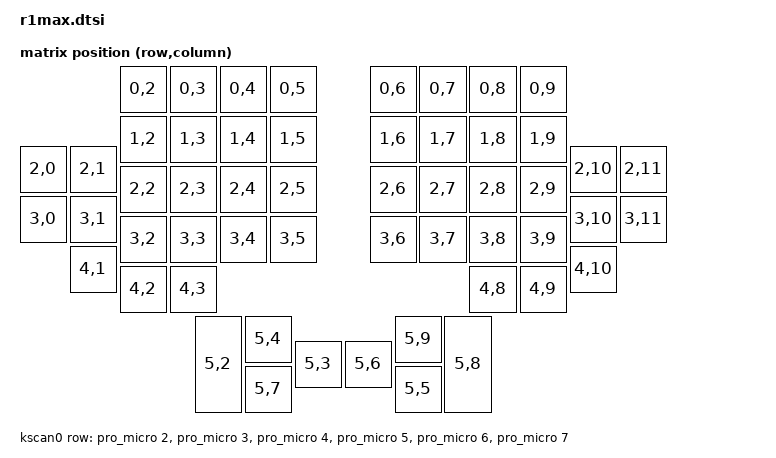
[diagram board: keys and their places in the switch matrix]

#include <dt-bindings/zmk/matrix_transform.h> // Put this with the other includes at the top of your dtsi
#include <physical_layouts.dtsi>

/ {
    default_transform: keymap_transform0 {
        compatible = "zmk,matrix-transform";
        columns = <12>;
        rows = <6>;
        map = <
                            RC(0,2) RC(0,3) RC(0,4) RC(0,5)     RC(0,6) RC(0,7) RC(0,8) RC(0,9)
                            RC(1,2) RC(1,3) RC(1,4) RC(1,5)     RC(1,6) RC(1,7) RC(1,8) RC(1,9) 
            RC(2,0) RC(2,1) RC(2,2) RC(2,3) RC(2,4) RC(2,5)     RC(2,6) RC(2,7) RC(2,8) RC(2,9) RC(2,10) RC(2,11)
            RC(3,0) RC(3,1) RC(3,2) RC(3,3) RC(3,4) RC(3,5)     RC(3,6) RC(3,7) RC(3,8) RC(3,9) RC(3,10) RC(3,11)
                    RC(4,1) RC(4,2) RC(4,3)                                     RC(4,8) RC(4,9) RC(4,10) 
                                    RC(5,2) RC(5,4) RC(5,5)     RC(5,6) RC(5,7) RC(5,9)
                                            RC(5,3)                     RC(5,8)
        >;
    };
};
/ {
    kscan0: kscan0 {
        compatible = "zmk,kscan-gpio-matrix";
        diode-direction = "col2row";
        wakeup-source;

        row-gpios
            = <&pro_micro 2 (GPIO_ACTIVE_HIGH | GPIO_PULL_DOWN)>
            , <&pro_micro 3 (GPIO_ACTIVE_HIGH | GPIO_PULL_DOWN)>
            , <&pro_micro 4 (GPIO_ACTIVE_HIGH | GPIO_PULL_DOWN)>
            , <&pro_micro 5 (GPIO_ACTIVE_HIGH | GPIO_PULL_DOWN)>
            , <&pro_micro 6 (GPIO_ACTIVE_HIGH | GPIO_PULL_DOWN)>
            , <&pro_micro 7 (GPIO_ACTIVE_HIGH | GPIO_PULL_DOWN)>
            ;

    };
};

/ {
    physical_layout0: physical_layout_0 {
        compatible = "zmk,physical-layout";
        display-name = "Default";

        kscan = <&kscan0>;
        transform = <&default_transform>;

        keys  //                     w   h    x    y     rot    rx    ry
            = <&key_physical_attrs 100 100  200    0       0     0     0>
            , <&key_physical_attrs 100 100  300    0       0     0     0>
            , <&key_physical_attrs 100 100  400    0       0     0     0>
            , <&key_physical_attrs 100 100  500    0       0     0     0>
            , <&key_physical_attrs 100 100  700    0       0     0     0>
            , <&key_physical_attrs 100 100  800    0       0     0     0>
            , <&key_physical_attrs 100 100  900    0       0     0     0>
            , <&key_physical_attrs 100 100 1000    0       0     0     0>
            , <&key_physical_attrs 100 100  200  100       0     0     0>
            , <&key_physical_attrs 100 100  300  100       0     0     0>
            , <&key_physical_attrs 100 100  400  100       0     0     0>
            , <&key_physical_attrs 100 100  500  100       0     0     0>
            , <&key_physical_attrs 100 100  700  100       0     0     0>
            , <&key_physical_attrs 100 100  800  100       0     0     0>
            , <&key_physical_attrs 100 100  900  100       0     0     0>
            , <&key_physical_attrs 100 100 1000  100       0     0     0>
            , <&key_physical_attrs 100 100    0  160       0     0     0>
            , <&key_physical_attrs 100 100  100  160       0     0     0>
            , <&key_physical_attrs 100 100  200  200       0     0     0>
            , <&key_physical_attrs 100 100  300  200       0     0     0>
            , <&key_physical_attrs 100 100  400  200       0     0     0>
            , <&key_physical_attrs 100 100  500  200       0     0     0>
            , <&key_physical_attrs 100 100  700  200       0     0     0>
            , <&key_physical_attrs 100 100  800  200       0     0     0>
            , <&key_physical_attrs 100 100  900  200       0     0     0>
            , <&key_physical_attrs 100 100 1000  200       0     0     0>
            , <&key_physical_attrs 100 100 1100  160       0     0     0>
            , <&key_physical_attrs 100 100 1200  160       0     0     0>
            , <&key_physical_attrs 100 100    0  260       0     0     0>
            , <&key_physical_attrs 100 100  100  260       0     0     0>
            , <&key_physical_attrs 100 100  200  300       0     0     0>
            , <&key_physical_attrs 100 100  300  300       0     0     0>
            , <&key_physical_attrs 100 100  400  300       0     0     0>
            , <&key_physical_attrs 100 100  500  300       0     0     0>
            , <&key_physical_attrs 100 100  700  300       0     0     0>
            , <&key_physical_attrs 100 100  800  300       0     0     0>
            , <&key_physical_attrs 100 100  900  300       0     0     0>
            , <&key_physical_attrs 100 100 1000  300       0     0     0>
            , <&key_physical_attrs 100 100 1100  260       0     0     0>
            , <&key_physical_attrs 100 100 1200  260       0     0     0>
            , <&key_physical_attrs 100 100  100  360       0     0     0>
            , <&key_physical_attrs 100 100  200  400       0     0     0>
            , <&key_physical_attrs 100 100  300  400       0     0     0>
            , <&key_physical_attrs 100 100  900  400       0     0     0>
            , <&key_physical_attrs 100 100 1000  400       0     0     0>
            , <&key_physical_attrs 100 100 1100  360       0     0     0>

            , <&key_physical_attrs 100 200  350  500       0     0     0>  

            , <&key_physical_attrs 100 100  450  500       0     0     0>

            , <&key_physical_attrs 100 100  750  600       0     0     0>

            , <&key_physical_attrs 100 100  650  550       0     0     0>

            , <&key_physical_attrs 100 100  450  600       0     0     0>

            , <&key_physical_attrs 100 100  750  500       0     0     0>


            , <&key_physical_attrs 100 100  550  550       0     0     0>
            , <&key_physical_attrs 100 200  850  500       0     0     0>
            ;
    };
};


/ {
    chosen {
        zmk,physical-layout = &physical_layout0;
        // Other chosen items
    };
};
